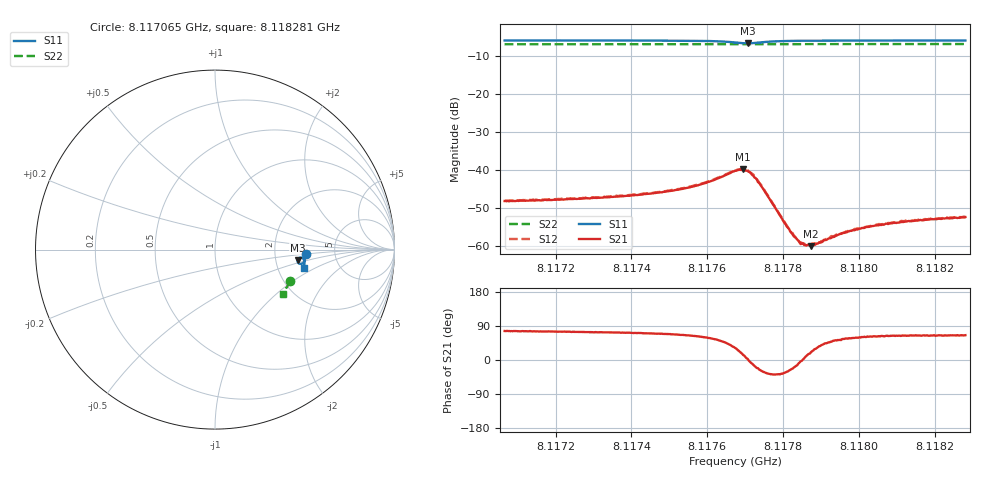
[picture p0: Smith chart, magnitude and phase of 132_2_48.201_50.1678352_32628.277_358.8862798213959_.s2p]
#  HZ  S  RI  R  50.00
! Rohde & Schwarz Vector Network Analyzer
! Rohde-Schwarz,ZNB20-2Port,1311601062101988,3.16
! Created: UTC 3/20/2024, 11:41:57 AM
! freq[Hz]  re:S11  im:S11  re:S21  im:S21  re:S12  im:S12  re:S22  im:S22
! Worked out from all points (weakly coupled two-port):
!   401 points, 8.117065 GHz to 8.118281 GHz, reference 50 ohm
!   highest |S21| = -39.82 dB at 8.117695 GHz (marker M1); lowest = -60.0 dB at 8.117874 GHz (marker M2)
!   lowest |S11| = -6.7 dB at 8.117707 GHz (marker M3), VSWR 2.73, Z = 133 - j20.2 ohm
!   |S11| at or under -10 dB: nowhere
!   |S22| runs from -6.9 to -6.8 dB; largest |S21 - S12| = 0.00041
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8.1170652e9  0.5055 -0.0221  0.000914 0.00381  0.000964 0.00385  0.4161 -0.1739
8.1172689e9  0.5041 -0.0387  0.00116 0.00407  0.00122 0.00409  0.4108 -0.1872
8.1173784e9  0.5026 -0.0483  0.00139 0.00432  0.00147 0.00438  0.408 -0.1942
8.1174726e9  0.5006 -0.0574  0.00177 0.00475  0.00186 0.0048  0.4053 -0.2004
8.117576e9  0.4954 -0.0699  0.00294 0.00561  0.00303 0.00567  0.4019 -0.2071
8.1176185e9  0.4894 -0.076  0.00425 0.00611  0.00439 0.00621  0.4003 -0.2099
8.1176733e9  0.47 -0.0786  0.00832 0.00522  0.00847 0.00517  0.3979 -0.213
8.1176946e9  0.4606 -0.0687  0.00992 0.00239  0.0101 0.00242  0.3969 -0.2136
8.1177067e9  0.4597 -0.0596  0.00971 0.000484  0.00993 0.00015  0.3968 -0.2139
8.1177219e9  0.4649 -0.0496  0.00817 -0.00191  0.00845 -0.00204  0.3967 -0.2145
8.1177371e9  0.4734 -0.0449  0.00611 -0.00289  0.0062 -0.00293  0.3967 -0.2152
8.117807e9  0.4948 -0.0552  0.00163 -0.00104  0.00164 -0.00109  0.3954 -0.2202
8.1178253e9  0.4963 -0.0585  0.00132 -0.000552  0.00136 -0.000592  0.3949 -0.2214
8.1178374e9  0.497 -0.0606  0.00119 -0.000291  0.00123 -0.000273  0.3945 -0.2223
8.1178527e9  0.4976 -0.063  0.00109 2.72e-05  0.0011 1.19e-05  0.394 -0.2232
8.1178739e9  0.4983 -0.0661  0.000935 0.000356  0.000967 0.000365  0.3933 -0.2247
8.117877e9  0.4982 -0.0665  0.000963 0.000414  0.000996 0.000438  0.3933 -0.225
8.1179712e9  0.4982 -0.0774  0.000864 0.0013  0.000882 0.00132  0.3901 -0.2308
8.1180472e9  0.4975 -0.0846  0.000885 0.00166  0.000898 0.0017  0.3877 -0.2357
8.1180807e9  0.4972 -0.0877  0.000889 0.00178  0.000937 0.00178  0.3866 -0.2377
8.1181567e9  0.4961 -0.0941  0.000931 0.00197  0.000965 0.002  0.384 -0.2424
8.1182813e9  0.4941 -0.104  0.000998 0.00219  0.00103 0.00222  0.3794 -0.25
